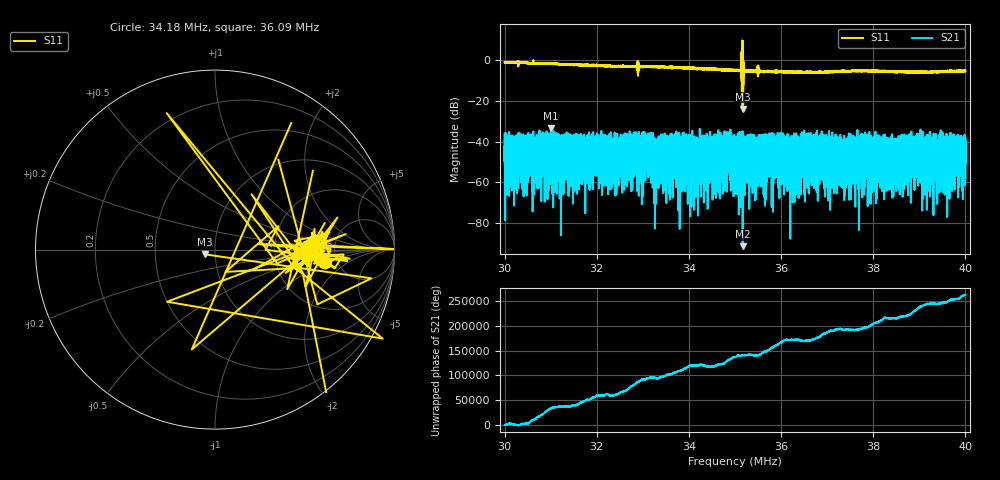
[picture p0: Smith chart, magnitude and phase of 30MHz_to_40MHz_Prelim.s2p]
# HZ S RI R 50
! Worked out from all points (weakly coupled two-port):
!   20200 points, 30 MHz to 40 MHz, reference 50 ohm
!   highest |S21| = -33.50 dB at 31 MHz (marker M1); lowest = -91.5 dB at 35.16 MHz (marker M2)
!   lowest |S11| = -23.9 dB at 35.16 MHz (marker M3), VSWR 1.14, Z = 44.4 - j2.33 ohm
!   |S11| at or under -10 dB: 35.14651 MHz to 35.14654 MHz (39.62 Hz wide, 0.000113 % of centre); 35.14779 MHz to 35.1482 MHz (402.3 Hz wide, 0.00114 % of centre); 35.14994 MHz to 35.15005 MHz (104.9 Hz wide, 0.000298 % of centre)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
!   S12 and S22 are empty: the file has one direction only
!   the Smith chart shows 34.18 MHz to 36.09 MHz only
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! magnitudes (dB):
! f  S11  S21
! 30 MHz  -0.8  -46.0
! 30.81 MHz  -1.5  -37.0
! 31 MHz  -1.6  -33.5
! 31.24 MHz  -1.9  -53.8
! 31.33 MHz  -1.9  -46.8
! 31.48 MHz  -2.1  -42.8
! 31.67 MHz  -2.2  -40.5
! 33.33 MHz  -3.2  -38.0
! 35 MHz  -5.2  -39.1
! 35.16 MHz  -23.9  -50.3
! 35.16 MHz  -3.8  -91.5
! 35.88 MHz  -5.5  -41.6
! 36.21 MHz  -5.6  -40.0
! 36.67 MHz  -5.9  -38.7
! 37.37 MHz  -5.3  -43.9
! 37.82 MHz  -5.2  -46.6
! 38.33 MHz  -5.5  -41.5
! 38.97 MHz  -5.8  -42.3
! 39.53 MHz  -5.6  -46.4
! 39.63 MHz  -5.3  -39.2
! 39.93 MHz  -5.2  -41.5
! 40 MHz  -5.4  -39.9
